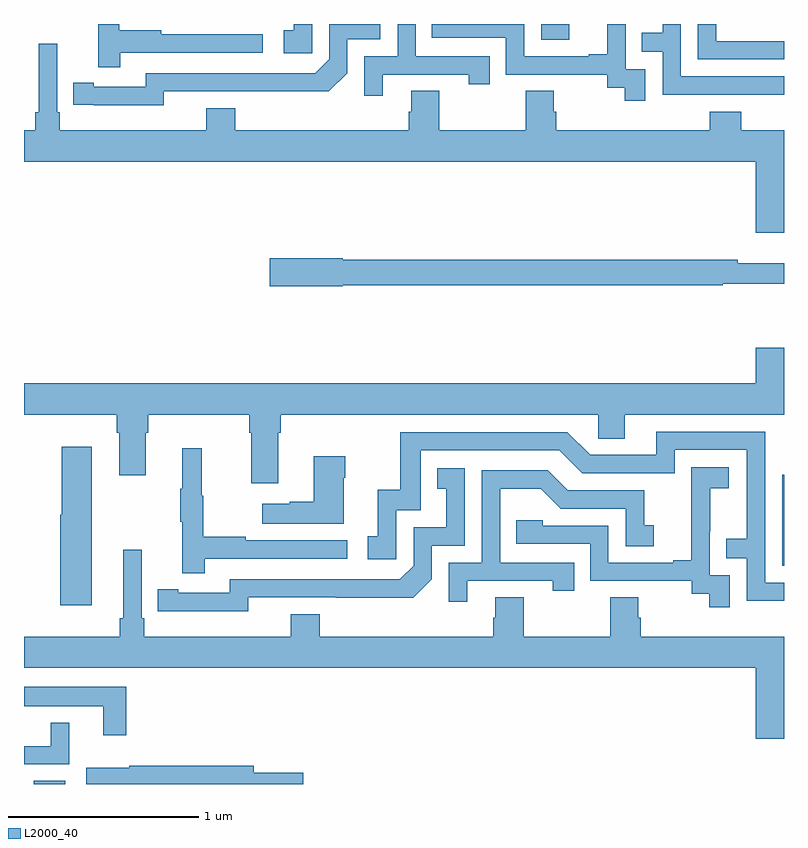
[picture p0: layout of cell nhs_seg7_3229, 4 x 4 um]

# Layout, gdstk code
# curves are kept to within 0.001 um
import gdstk
lib = gdstk.Library(unit=1e-6, precision=1e-09)
def R(c, l, rs):  # rectangles x0, y0, x1, y1
    for r in rs: c.add(gdstk.rectangle(r[:2], r[2:], *l))
def P(c, l, *ps):  # polygons
    for p in ps: c.add(gdstk.Polygon(p, *l))
L2000_40 = (2000, 40)

nhs_seg7_3229 = lib.new_cell('nhs_seg7_3229')
R(nhs_seg7_3229, L2000_40, [(317.051,1004,317.218,1004.018), (320.991,1005.15,321,1005.627), (319.722,1007.916,319.87,1008)])
P(nhs_seg7_3229, L2000_40, [(317.507,1007.85),(318.256,1007.85),(318.256,1007.946),(317.723,1007.946),(317.723,1007.966),(317.5,1007.966),(317.5,1008),(317.39,1008),(317.39,1007.772),(317.507,1007.772)],
  [(317.736,1007.646),(318.604,1007.645),(318.702,1007.742),(318.702,1007.919),(318.876,1007.919),(318.876,1008),(318.606,1008),(318.606,1007.814),(318.534,1007.742),(317.64,1007.742),(317.64,1007.67),(317.368,1007.67),(317.368,1007.69),(317.26,1007.69),(317.26,1007.574),(317.736,1007.573)],
  [(318.889,1007.733),(319.34,1007.733),(319.34,1007.682),(319.451,1007.682),(319.451,1007.829),(319.062,1007.829),(319.062,1008),(318.966,1008),(318.966,1007.829),(318.792,1007.829),(318.792,1007.622),(318.889,1007.622)],
  [(318.516,1008),(318.419,1008),(318.419,1007.967),(318.366,1007.967),(318.366,1007.847),(318.516,1007.847)],
  [(321,1007.724),(320.457,1007.724),(320.457,1008),(320.361,1008),(320.361,1007.954),(320.251,1007.954),(320.251,1007.853),(320.361,1007.853),(320.361,1007.628),(320.857,1007.628),(320.857,1007.627),(321,1007.627)],
  [(321,1007.91),(320.643,1007.91),(320.643,1008),(320.547,1008),(320.547,1007.814),(321,1007.814)],
  [(320.271,1007.763),(320.166,1007.763),(320.166,1007.993),(320.168,1007.993),(320.168,1008),(320.069,1008),(320.069,1007.842),(319.973,1007.842),(319.973,1007.829),(319.632,1007.829),(319.632,1008),(319.147,1008),(319.147,1007.928),(319.536,1007.928),(319.536,1007.733),(320.07,1007.733),(320.07,1007.665),(320.163,1007.665),(320.163,1007.595),(320.271,1007.595)],
  [(321,1007.44),(320.774,1007.44),(320.774,1007.539),(320.609,1007.539),(320.609,1007.44),(319.802,1007.44),(319.802,1007.538),(319.789,1007.538),(319.789,1007.648),(319.642,1007.648),(319.642,1007.44),(319.185,1007.44),(319.185,1007.648),(319.037,1007.648),(319.037,1007.538),(319.025,1007.538),(319.025,1007.44),(318.113,1007.44),(318.113,1007.557),(317.96,1007.557),(317.96,1007.44),(317.189,1007.44),(317.189,1007.536),(317.175,1007.536),(317.175,1007.896),(317.078,1007.896),(317.078,1007.536),(317.059,1007.536),(317.059,1007.44),(317,1007.44),(317,1007.276),(320.852,1007.276),(320.852,1006.902),(321,1006.902)],
  [(318.678,1006.624),(320.678,1006.624),(320.678,1006.632),(321,1006.632),(321,1006.741),(320.756,1006.741),(320.756,1006.76),(318.678,1006.76),(318.678,1006.766),(318.294,1006.766),(318.294,1006.619),(318.678,1006.619)],
  [(318.337,1005.848),(318.35,1005.848),(318.35,1005.944),(320.022,1005.944),(320.022,1005.817),(320.161,1005.817),(320.161,1005.944),(321,1005.944),(321,1006.297),(320.852,1006.297),(320.852,1006.108),(317,1006.108),(317,1005.944),(317.489,1005.944),(317.489,1005.848),(317.501,1005.848),(317.501,1005.624),(317.641,1005.624),(317.641,1005.848),(317.654,1005.848),(317.654,1005.944),(318.185,1005.944),(318.185,1005.848),(318.197,1005.848),(318.197,1005.582),(318.337,1005.582)],
  [(321,1005.06),(320.901,1005.06),(320.901,1005.855),(320.327,1005.855),(320.327,1005.732),(319.98,1005.732),(319.86,1005.852),(318.981,1005.852),(318.981,1005.55),(318.863,1005.55),(318.863,1005.303),(318.81,1005.303),(318.81,1005.183),(318.96,1005.183),(318.96,1005.441),(319.089,1005.441),(319.089,1005.756),(319.818,1005.756),(319.938,1005.636),(320.424,1005.636),(320.424,1005.759),(320.805,1005.759),(320.805,1005.29),(320.695,1005.29),(320.695,1005.189),(320.805,1005.189),(320.805,1004.964),(321,1004.964)],
  [(317.356,1005.775),(317.198,1005.775),(317.198,1005.417),(317.192,1005.417),(317.192,1004.94),(317.356,1004.94)],
  [(317.951,1005.186),(318.7,1005.186),(318.7,1005.282),(318.167,1005.282),(318.167,1005.302),(317.944,1005.302),(317.944,1005.516),(317.936,1005.516),(317.936,1005.766),(317.834,1005.766),(317.834,1005.553),(317.823,1005.553),(317.823,1005.379),(317.834,1005.379),(317.834,1005.108),(317.951,1005.108)],
  [(318.682,1005.611),(318.69,1005.611),(318.69,1005.724),(318.524,1005.724),(318.524,1005.485),(318.398,1005.485),(318.398,1005.475),(318.255,1005.475),(318.255,1005.371),(318.682,1005.371)],
  [(320.715,1005.099),(320.61,1005.099),(320.61,1005.329),(320.612,1005.329),(320.612,1005.557),(320.71,1005.557),(320.71,1005.667),(320.512,1005.667),(320.512,1005.461),(320.513,1005.461),(320.513,1005.178),(320.417,1005.178),(320.417,1005.165),(320.076,1005.165),(320.076,1005.36),(319.731,1005.36),(319.731,1005.387),(319.591,1005.387),(319.591,1005.264),(319.98,1005.264),(319.98,1005.069),(320.514,1005.069),(320.514,1005.001),(320.607,1005.001),(320.607,1004.931),(320.715,1004.931)],
  [(318.18,1004.982),(319.048,1004.981),(319.146,1005.078),(319.146,1005.255),(319.32,1005.255),(319.32,1005.661),(319.174,1005.661),(319.174,1005.555),(319.223,1005.555),(319.223,1005.351),(319.05,1005.351),(319.05,1005.15),(318.978,1005.078),(318.084,1005.078),(318.084,1005.006),(317.812,1005.006),(317.812,1005.026),(317.704,1005.026),(317.704,1004.91),(318.18,1004.909)],
  [(319.333,1005.069),(319.784,1005.069),(319.784,1005.018),(319.895,1005.018),(319.895,1005.165),(319.506,1005.165),(319.506,1005.554),(319.72,1005.554),(319.824,1005.45),(320.166,1005.45),(320.166,1005.252),(320.314,1005.252),(320.314,1005.361),(320.265,1005.361),(320.265,1005.546),(319.861,1005.546),(319.756,1005.651),(319.41,1005.651),(319.41,1005.165),(319.236,1005.165),(319.236,1004.958),(319.333,1004.958)],
  [(321,1004.776),(320.246,1004.776),(320.246,1004.874),(320.233,1004.874),(320.233,1004.984),(320.086,1004.984),(320.086,1004.776),(319.629,1004.776),(319.629,1004.984),(319.481,1004.984),(319.481,1004.874),(319.469,1004.874),(319.469,1004.776),(318.557,1004.776),(318.557,1004.893),(318.404,1004.893),(318.404,1004.776),(317.633,1004.776),(317.633,1004.872),(317.619,1004.872),(317.619,1005.232),(317.522,1005.232),(317.522,1004.872),(317.503,1004.872),(317.503,1004.776),(317,1004.776),(317,1004.612),(320.852,1004.612),(320.852,1004.238),(321,1004.238)],
  [(317.539,1004.512),(317,1004.512),(317,1004.408),(317.417,1004.408),(317.417,1004.256),(317.539,1004.256)],
  [(317.239,1004.323),(317.141,1004.323),(317.141,1004.199),(317,1004.199),(317,1004.103),(317.239,1004.103)],
  [(318.469,1004.06),(318.208,1004.06),(318.208,1004.096),(317.553,1004.096),(317.553,1004.086),(317.327,1004.086),(317.327,1004),(318.469,1004)])

lib.write_gds('nhs_seg7_3229.gds')
